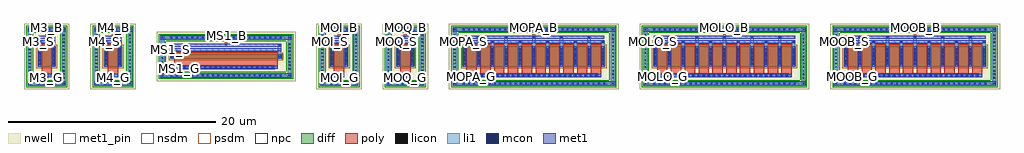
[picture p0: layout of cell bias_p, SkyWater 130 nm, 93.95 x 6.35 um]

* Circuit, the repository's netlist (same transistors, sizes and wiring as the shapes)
.subckt bias_p M3_D M3_G M3_S M3_B M4_D M4_G M4_S M4_B MS1_D MS1_G MS1_S MS1_B MOI_D MOI_G MOI_S MOI_B MOQ_D MOQ_G MOQ_S MOQ_B MOPA_D MOPA_G MOPA_S MOPA_B MOLO_D MOLO_G MOLO_S MOLO_B MOOB_D MOOB_G MOOB_S MOOB_B
XM3 M3_D M3_G M3_S M3_B sky130_fd_pr__pfet_01v8 W=2.0 L=1.0 nf=1 m=1
XM4 M4_D M4_G M4_S M4_B sky130_fd_pr__pfet_01v8 W=2.0 L=1.0 nf=1 m=1
XMS1 MS1_D MS1_G MS1_S MS1_B sky130_fd_pr__pfet_01v8 W=0.42 L=10.0 nf=1 m=1
XMOI MOI_D MOI_G MOI_S MOI_B sky130_fd_pr__pfet_01v8 W=2.0 L=1.0 nf=1 m=1
XMOQ MOQ_D MOQ_G MOQ_S MOQ_B sky130_fd_pr__pfet_01v8 W=2.0 L=1.0 nf=1 m=1
XMOPA MOPA_D MOPA_G MOPA_S MOPA_B sky130_fd_pr__pfet_01v8 W=20.0 L=1.0 nf=10 m=1
XMOLO MOLO_D MOLO_G MOLO_S MOLO_B sky130_fd_pr__pfet_01v8 W=20.0 L=1.0 nf=10 m=1
XMOOB MOOB_D MOOB_G MOOB_S MOOB_B sky130_fd_pr__pfet_01v8 W=20.0 L=1.0 nf=10 m=1
.ends bias_p

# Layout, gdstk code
import gdstk
lib = gdstk.Library(unit=1e-6, precision=5e-09)
def R(c, l, rs):  # rectangles x0, y0, x1, y1
    for r in rs: c.add(gdstk.rectangle(r[:2], r[2:], *l))
def A(c, l, x, y, w, h, nx, ny, dx, dy):  # array of equal rectangles
    R(c, l, [(x+i*dx, y+j*dy, x+i*dx+w, y+j*dy+h) for i in range(nx) for j in range(ny)])
def P(c, l, *ps):  # polygons
    for p in ps: c.add(gdstk.Polygon(p, *l))
nwell = (64, 20)
diff = (65, 20)
poly = (66, 20)
licon = (66, 44)
li1 = (67, 20)
mcon = (67, 44)
met1_pin = (68, 16)
met1 = (68, 20)
nsdm = (93, 44)
psdm = (94, 20)
npc = (95, 20)

bias_p = lib.new_cell('bias_p')
A(bias_p, nwell, 40.905, -3.175, 16.35, 6.35, 3, 1, 18.35, 0)
A(bias_p, nwell, 41.085, -2.995, 15.99, 5.99, 3, 1, 18.35, 0)
R(bias_p, nwell, [(0,-3.175,4.38,3.175), (6.38,-3.175,10.76,3.175), (28.15,-3.175,32.53,3.175), (34.52,-3.175,38.9,3.175), (0.18,-2.995,4.2,2.995), (6.56,-2.995,10.58,2.995), (28.33,-2.995,32.35,2.995), (34.7,-2.995,38.72,2.995), (12.76,-2.39,26.14,2.39), (12.94,-2.21,25.96,2.21)])
A(bias_p, diff, 1.235, -2.815, 0.41, 0.41, 4, 2, 0.5, 5.22)
A(bias_p, diff, 7.615, -2.815, 0.41, 0.41, 4, 2, 0.5, 5.22)
A(bias_p, diff, 29.385, -2.815, 0.41, 0.41, 4, 2, 0.5, 5.22)
A(bias_p, diff, 35.755, -2.815, 0.41, 0.41, 4, 2, 0.5, 5.22)
A(bias_p, diff, 42.125, -2.815, 0.41, 0.41, 28, 2, 0.5, 5.22)
A(bias_p, diff, 42.125, -2.815, 13.91, 0.41, 3, 2, 18.35, 5.22)
A(bias_p, diff, 60.475, -2.815, 0.41, 0.41, 28, 2, 0.5, 5.22)
A(bias_p, diff, 78.825, -2.815, 0.41, 0.41, 28, 2, 0.5, 5.22)
A(bias_p, diff, 0.36, -2.245, 0.41, 0.41, 1, 13, 0, 0.34)
A(bias_p, diff, 3.61, -2.245, 0.41, 0.41, 1, 13, 0, 0.34)
A(bias_p, diff, 6.74, -2.245, 0.41, 0.41, 1, 13, 0, 0.34)
A(bias_p, diff, 9.99, -2.245, 0.41, 0.41, 1, 13, 0, 0.34)
A(bias_p, diff, 28.51, -2.245, 0.41, 0.41, 1, 13, 0, 0.34)
A(bias_p, diff, 31.76, -2.245, 0.41, 0.41, 1, 13, 0, 0.34)
A(bias_p, diff, 34.88, -2.245, 0.41, 0.41, 1, 13, 0, 0.34)
A(bias_p, diff, 38.13, -2.245, 0.41, 0.41, 1, 13, 0, 0.34)
A(bias_p, diff, 41.265, -2.245, 0.41, 0.41, 1, 13, 0, 0.34)
A(bias_p, diff, 56.485, -2.245, 0.41, 0.41, 1, 13, 0, 0.34)
A(bias_p, diff, 59.615, -2.245, 0.41, 0.41, 1, 13, 0, 0.34)
A(bias_p, diff, 74.835, -2.245, 0.41, 0.41, 1, 13, 0, 0.34)
A(bias_p, diff, 77.965, -2.245, 0.41, 0.41, 1, 13, 0, 0.34)
A(bias_p, diff, 93.185, -2.245, 0.41, 0.41, 1, 13, 0, 0.34)
A(bias_p, diff, 13.995, -2.03, 0.41, 0.41, 22, 2, 0.5, 3.65)
A(bias_p, diff, 13.12, -1.395, 0.41, 0.41, 1, 8, 0, 0.34)
A(bias_p, diff, 25.37, -1.395, 0.41, 0.41, 1, 8, 0, 0.34)
A(bias_p, diff, 42.205, -1, 13.75, 2, 3, 1, 18.35, 0)
R(bias_p, diff, [(1.235,-2.815,3.145,-2.405), (7.615,-2.815,9.525,-2.405), (29.385,-2.815,31.295,-2.405), (35.755,-2.815,37.665,-2.405), (0.36,-2.245,0.77,2.245), (3.61,-2.245,4.02,2.245), (6.74,-2.245,7.15,2.245), (9.99,-2.245,10.4,2.245), (28.51,-2.245,28.92,2.245), (31.76,-2.245,32.17,2.245), (34.88,-2.245,35.29,2.245), (38.13,-2.245,38.54,2.245), (41.265,-2.245,41.675,2.245), (56.485,-2.245,56.895,2.245), (59.615,-2.245,60.025,2.245), (74.835,-2.245,75.245,2.245), (77.965,-2.245,78.375,2.245), (93.185,-2.245,93.595,2.245), (13.995,-2.03,24.905,-1.62), (13.12,-1.395,13.53,1.395), (25.37,-1.395,25.78,1.395), (1.3,-1,3.08,1), (7.68,-1,9.46,1), (29.45,-1,31.23,1), (35.82,-1,37.6,1), (14.06,-0.21,24.84,0.21), (13.995,1.62,24.905,2.03), (1.235,2.405,3.145,2.815), (7.615,2.405,9.525,2.815), (29.385,2.405,31.295,2.815), (35.755,2.405,37.665,2.815)])
P(bias_p, diff, [(4.02,2.815),(0.36,2.815),(0.36,-2.405),(0.77,-2.405),(0.77,2.405),(3.61,2.405),(3.61,-2.405),(0.77,-2.405),(0.36,-2.405),(0.36,-2.815),(4.02,-2.815)],
  [(93.595,2.815),(77.965,2.815),(77.965,-2.405),(78.375,-2.405),(78.375,2.405),(93.185,2.405),(93.185,-2.405),(78.375,-2.405),(77.965,-2.405),(77.965,-2.815),(93.595,-2.815)],
  [(75.245,2.815),(59.615,2.815),(59.615,-2.405),(60.025,-2.405),(60.025,2.405),(74.835,2.405),(74.835,-2.405),(60.025,-2.405),(59.615,-2.405),(59.615,-2.815),(75.245,-2.815)],
  [(56.895,2.815),(41.265,2.815),(41.265,-2.405),(41.675,-2.405),(41.675,2.405),(56.485,2.405),(56.485,-2.405),(41.675,-2.405),(41.265,-2.405),(41.265,-2.815),(56.895,-2.815)],
  [(38.54,2.815),(34.88,2.815),(34.88,-2.405),(35.29,-2.405),(35.29,2.405),(38.13,2.405),(38.13,-2.405),(35.29,-2.405),(34.88,-2.405),(34.88,-2.815),(38.54,-2.815)],
  [(32.17,2.815),(28.51,2.815),(28.51,-2.405),(28.92,-2.405),(28.92,2.405),(31.76,2.405),(31.76,-2.405),(28.92,-2.405),(28.51,-2.405),(28.51,-2.815),(32.17,-2.815)],
  [(25.78,2.03),(13.12,2.03),(13.12,-1.62),(13.53,-1.62),(13.53,1.62),(25.37,1.62),(25.37,-1.62),(13.53,-1.62),(13.12,-1.62),(13.12,-2.03),(25.78,-2.03)],
  [(10.4,2.815),(6.74,2.815),(6.74,-2.405),(7.15,-2.405),(7.15,2.405),(9.99,2.405),(9.99,-2.405),(7.15,-2.405),(6.74,-2.405),(6.74,-2.815),(10.4,-2.815)])
A(bias_p, poly, 30.175, -1.98, 0.33, 0.33, 3, 1, 6.37, 0)
A(bias_p, poly, 42.595, -1.98, 12.97, 0.33, 3, 1, 18.35, 0)
A(bias_p, poly, 43.415, -1.98, 0.33, 0.33, 24, 1, 0.5, 0)
A(bias_p, poly, 61.265, -1.98, 0.33, 0.33, 25, 1, 0.5, 0)
A(bias_p, poly, 79.615, -1.98, 0.33, 0.33, 25, 1, 0.5, 0)
A(bias_p, poly, 42.595, -1.65, 1, 0.4, 10, 1, 1.33, 0)
A(bias_p, poly, 60.945, -1.65, 1, 0.4, 10, 1, 1.33, 0)
A(bias_p, poly, 79.295, -1.65, 1, 0.4, 10, 1, 1.33, 0)
A(bias_p, poly, 42.595, -1.25, 1, 2.5, 10, 1, 1.33, 0)
A(bias_p, poly, 60.945, -1.25, 1, 2.5, 10, 1, 1.33, 0)
A(bias_p, poly, 79.295, -1.25, 1, 2.5, 10, 1, 1.33, 0)
A(bias_p, poly, 14.785, -1.2, 0.33, 0.33, 19, 1, 0.5, 0)
R(bias_p, poly, [(1.69,-1.98,2.69,-1.65), (2.025,-1.98,2.355,-1.65), (8.07,-1.98,9.07,-1.65), (8.405,-1.98,8.735,-1.65), (29.84,-1.98,30.84,-1.65), (36.21,-1.98,37.21,-1.65), (1.69,-1.65,2.69,-1.25), (8.07,-1.65,9.07,-1.25), (29.84,-1.65,30.84,-1.25), (36.21,-1.65,37.21,-1.25), (1.69,-1.25,2.69,1.25), (8.07,-1.25,9.07,1.25), (29.84,-1.25,30.84,1.25), (36.21,-1.25,37.21,1.25), (14.45,-1.2,24.45,-0.87), (14.45,-0.87,24.45,-0.46), (14.45,-0.46,24.45,0.46)])
A(bias_p, licon, 1.355, -2.695, 0.17, 0.17, 4, 2, 0.5, 5.22)
A(bias_p, licon, 7.735, -2.695, 0.17, 0.17, 4, 2, 0.5, 5.22)
A(bias_p, licon, 29.505, -2.695, 0.17, 0.17, 4, 2, 0.5, 5.22)
A(bias_p, licon, 35.875, -2.695, 0.17, 0.17, 4, 2, 0.5, 5.22)
A(bias_p, licon, 42.245, -2.695, 0.17, 0.17, 28, 2, 0.5, 5.22)
A(bias_p, licon, 60.595, -2.695, 0.17, 0.17, 28, 2, 0.5, 5.22)
A(bias_p, licon, 78.945, -2.695, 0.17, 0.17, 28, 2, 0.5, 5.22)
A(bias_p, licon, 0.48, -2.125, 0.17, 0.17, 1, 13, 0, 0.34)
A(bias_p, licon, 3.73, -2.125, 0.17, 0.17, 1, 13, 0, 0.34)
A(bias_p, licon, 6.86, -2.125, 0.17, 0.17, 1, 13, 0, 0.34)
A(bias_p, licon, 10.11, -2.125, 0.17, 0.17, 1, 13, 0, 0.34)
A(bias_p, licon, 28.63, -2.125, 0.17, 0.17, 1, 13, 0, 0.34)
A(bias_p, licon, 31.88, -2.125, 0.17, 0.17, 1, 13, 0, 0.34)
A(bias_p, licon, 35, -2.125, 0.17, 0.17, 1, 13, 0, 0.34)
A(bias_p, licon, 38.25, -2.125, 0.17, 0.17, 1, 13, 0, 0.34)
A(bias_p, licon, 41.385, -2.125, 0.17, 0.17, 1, 13, 0, 0.34)
A(bias_p, licon, 56.605, -2.125, 0.17, 0.17, 1, 13, 0, 0.34)
A(bias_p, licon, 59.735, -2.125, 0.17, 0.17, 1, 13, 0, 0.34)
A(bias_p, licon, 74.955, -2.125, 0.17, 0.17, 1, 13, 0, 0.34)
A(bias_p, licon, 78.085, -2.125, 0.17, 0.17, 1, 13, 0, 0.34)
A(bias_p, licon, 93.305, -2.125, 0.17, 0.17, 1, 13, 0, 0.34)
A(bias_p, licon, 14.115, -1.91, 0.17, 0.17, 22, 2, 0.5, 3.65)
A(bias_p, licon, 30.255, -1.9, 0.17, 0.17, 3, 1, 6.37, 0)
A(bias_p, licon, 43.495, -1.9, 0.17, 0.17, 24, 1, 0.5, 0)
A(bias_p, licon, 61.345, -1.9, 0.17, 0.17, 25, 1, 0.5, 0)
A(bias_p, licon, 79.695, -1.9, 0.17, 0.17, 25, 1, 0.5, 0)
A(bias_p, licon, 13.24, -1.275, 0.17, 0.17, 1, 8, 0, 0.34)
A(bias_p, licon, 25.49, -1.275, 0.17, 0.17, 1, 8, 0, 0.34)
A(bias_p, licon, 14.865, -1.12, 0.17, 0.17, 19, 1, 0.5, 0)
A(bias_p, licon, 1.44, -0.595, 0.17, 0.17, 1, 4, 0, 0.34)
A(bias_p, licon, 2.77, -0.595, 0.17, 0.17, 1, 4, 0, 0.34)
A(bias_p, licon, 7.82, -0.595, 0.17, 0.17, 1, 4, 0, 0.34)
A(bias_p, licon, 9.15, -0.595, 0.17, 0.17, 1, 4, 0, 0.34)
A(bias_p, licon, 29.59, -0.595, 0.17, 0.17, 1, 4, 0, 0.34)
A(bias_p, licon, 30.92, -0.595, 0.17, 0.17, 1, 4, 0, 0.34)
A(bias_p, licon, 35.96, -0.595, 0.17, 0.17, 1, 4, 0, 0.34)
A(bias_p, licon, 37.29, -0.595, 0.17, 0.17, 1, 4, 0, 0.34)
A(bias_p, licon, 42.345, -0.595, 0.17, 0.17, 11, 4, 1.33, 0.34)
A(bias_p, licon, 60.695, -0.595, 0.17, 0.17, 11, 4, 1.33, 0.34)
A(bias_p, licon, 79.045, -0.595, 0.17, 0.17, 11, 4, 1.33, 0.34)
R(bias_p, licon, [(2.105,-1.9,2.275,-1.73), (8.485,-1.9,8.655,-1.73), (14.2,-0.085,14.37,0.085), (24.53,-0.085,24.7,0.085)])
A(bias_p, li1, 1.275, -2.775, 0.33, 0.33, 4, 2, 0.5, 5.22)
A(bias_p, li1, 7.655, -2.775, 0.33, 0.33, 4, 2, 0.5, 5.22)
A(bias_p, li1, 29.425, -2.775, 0.33, 0.33, 4, 2, 0.5, 5.22)
A(bias_p, li1, 35.795, -2.775, 0.33, 0.33, 4, 2, 0.5, 5.22)
A(bias_p, li1, 42.165, -2.775, 0.33, 0.33, 28, 2, 0.5, 5.22)
A(bias_p, li1, 42.165, -2.775, 13.83, 0.33, 3, 2, 18.35, 5.22)
A(bias_p, li1, 60.515, -2.775, 0.33, 0.33, 28, 2, 0.5, 5.22)
A(bias_p, li1, 78.865, -2.775, 0.33, 0.33, 28, 2, 0.5, 5.22)
A(bias_p, li1, 0.4, -2.205, 0.33, 0.33, 1, 13, 0, 0.34)
A(bias_p, li1, 3.65, -2.205, 0.33, 0.33, 1, 13, 0, 0.34)
A(bias_p, li1, 6.78, -2.205, 0.33, 0.33, 1, 13, 0, 0.34)
A(bias_p, li1, 10.03, -2.205, 0.33, 0.33, 1, 13, 0, 0.34)
A(bias_p, li1, 28.55, -2.205, 0.33, 0.33, 1, 13, 0, 0.34)
A(bias_p, li1, 31.8, -2.205, 0.33, 0.33, 1, 13, 0, 0.34)
A(bias_p, li1, 34.92, -2.205, 0.33, 0.33, 1, 13, 0, 0.34)
A(bias_p, li1, 38.17, -2.205, 0.33, 0.33, 1, 13, 0, 0.34)
A(bias_p, li1, 41.305, -2.205, 0.33, 0.33, 1, 13, 0, 0.34)
A(bias_p, li1, 56.525, -2.205, 0.33, 0.33, 1, 13, 0, 0.34)
A(bias_p, li1, 59.655, -2.205, 0.33, 0.33, 1, 13, 0, 0.34)
A(bias_p, li1, 74.875, -2.205, 0.33, 0.33, 1, 13, 0, 0.34)
A(bias_p, li1, 78.005, -2.205, 0.33, 0.33, 1, 13, 0, 0.34)
A(bias_p, li1, 93.225, -2.205, 0.33, 0.33, 1, 13, 0, 0.34)
A(bias_p, li1, 14.035, -1.99, 0.33, 0.33, 22, 2, 0.5, 3.65)
A(bias_p, li1, 30.175, -1.98, 0.33, 0.33, 3, 1, 6.37, 0)
A(bias_p, li1, 43.415, -1.98, 0.33, 0.33, 24, 1, 0.5, 0)
A(bias_p, li1, 61.265, -1.98, 0.33, 0.33, 25, 1, 0.5, 0)
A(bias_p, li1, 79.615, -1.98, 0.33, 0.33, 25, 1, 0.5, 0)
A(bias_p, li1, 13.16, -1.355, 0.33, 0.33, 1, 8, 0, 0.34)
A(bias_p, li1, 25.41, -1.355, 0.33, 0.33, 1, 8, 0, 0.34)
A(bias_p, li1, 14.785, -1.2, 0.33, 0.33, 19, 1, 0.5, 0)
A(bias_p, li1, 42.265, -1, 0.33, 2, 11, 1, 1.33, 0)
A(bias_p, li1, 60.615, -1, 0.33, 2, 11, 1, 1.33, 0)
A(bias_p, li1, 78.965, -1, 0.33, 2, 11, 1, 1.33, 0)
A(bias_p, li1, 1.44, -0.805, 0.17, 0.17, 1, 5, 0, 0.36)
A(bias_p, li1, 2.77, -0.805, 0.17, 0.17, 1, 5, 0, 0.36)
A(bias_p, li1, 7.82, -0.805, 0.17, 0.17, 1, 5, 0, 0.36)
A(bias_p, li1, 9.15, -0.805, 0.17, 0.17, 1, 5, 0, 0.36)
A(bias_p, li1, 29.59, -0.805, 0.17, 0.17, 1, 5, 0, 0.36)
A(bias_p, li1, 30.92, -0.805, 0.17, 0.17, 1, 5, 0, 0.36)
A(bias_p, li1, 35.96, -0.805, 0.17, 0.17, 1, 5, 0, 0.36)
A(bias_p, li1, 37.29, -0.805, 0.17, 0.17, 1, 5, 0, 0.36)
A(bias_p, li1, 42.345, -0.805, 0.17, 0.17, 11, 5, 1.33, 0.36)
A(bias_p, li1, 42.345, -0.805, 0.17, 1.61, 11, 1, 1.33, 0)
A(bias_p, li1, 60.695, -0.805, 0.17, 0.17, 11, 5, 1.33, 0.36)
A(bias_p, li1, 60.695, -0.805, 0.17, 1.61, 11, 1, 1.33, 0)
A(bias_p, li1, 79.045, -0.805, 0.17, 0.17, 11, 5, 1.33, 0.36)
A(bias_p, li1, 79.045, -0.805, 0.17, 1.61, 11, 1, 1.33, 0)
A(bias_p, li1, 1.36, -0.675, 0.33, 0.33, 1, 4, 0, 0.34)
A(bias_p, li1, 2.69, -0.675, 0.33, 0.33, 1, 4, 0, 0.34)
A(bias_p, li1, 7.74, -0.675, 0.33, 0.33, 1, 4, 0, 0.34)
A(bias_p, li1, 9.07, -0.675, 0.33, 0.33, 1, 4, 0, 0.34)
A(bias_p, li1, 29.51, -0.675, 0.33, 0.33, 1, 4, 0, 0.34)
A(bias_p, li1, 30.84, -0.675, 0.33, 0.33, 1, 4, 0, 0.34)
A(bias_p, li1, 35.88, -0.675, 0.33, 0.33, 1, 4, 0, 0.34)
A(bias_p, li1, 37.21, -0.675, 0.33, 0.33, 1, 4, 0, 0.34)
A(bias_p, li1, 42.265, -0.675, 0.33, 0.33, 11, 4, 1.33, 0.34)
A(bias_p, li1, 60.615, -0.675, 0.33, 0.33, 11, 4, 1.33, 0.34)
A(bias_p, li1, 78.965, -0.675, 0.33, 0.33, 11, 4, 1.33, 0.34)
A(bias_p, li1, 42.265, 1, 0.33, 0.515, 6, 1, 2.66, 0)
A(bias_p, li1, 43.595, 1, 0.33, 0.945, 5, 1, 2.66, 0)
A(bias_p, li1, 60.615, 1, 0.33, 0.515, 6, 1, 2.66, 0)
A(bias_p, li1, 61.945, 1, 0.33, 0.945, 5, 1, 2.66, 0)
A(bias_p, li1, 78.965, 1, 0.33, 0.515, 6, 1, 2.66, 0)
A(bias_p, li1, 80.295, 1, 0.33, 0.945, 5, 1, 2.66, 0)
A(bias_p, li1, 42.345, 1.345, 0.17, 0.17, 6, 1, 2.66, 0)
A(bias_p, li1, 60.695, 1.345, 0.17, 0.17, 6, 1, 2.66, 0)
A(bias_p, li1, 79.045, 1.345, 0.17, 0.17, 6, 1, 2.66, 0)
A(bias_p, li1, 43.675, 1.775, 0.17, 0.17, 5, 1, 2.66, 0)
A(bias_p, li1, 62.025, 1.775, 0.17, 0.17, 5, 1, 2.66, 0)
A(bias_p, li1, 80.375, 1.775, 0.17, 0.17, 5, 1, 2.66, 0)
R(bias_p, li1, [(0.36,-2.815,0.77,-2.405), (3.61,-2.815,4.02,-2.405), (6.74,-2.815,7.15,-2.405), (9.99,-2.815,10.4,-2.405), (28.51,-2.815,28.92,-2.405), (31.76,-2.815,32.17,-2.405), (34.88,-2.815,35.29,-2.405), (38.13,-2.815,38.54,-2.405), (41.265,-2.815,41.675,-2.405), (56.485,-2.815,56.895,-2.405), (59.615,-2.815,60.025,-2.405), (74.835,-2.815,75.245,-2.405), (77.965,-2.815,78.375,-2.405), (93.185,-2.815,93.595,-2.405), (1.275,-2.775,3.105,-2.445), (7.655,-2.775,9.485,-2.445), (29.425,-2.775,31.255,-2.445), (35.795,-2.775,37.625,-2.445), (0.48,-2.695,0.65,-2.525), (0.48,-2.695,0.65,-2.525), (3.73,-2.695,3.9,-2.525), (3.73,-2.695,3.9,-2.525), (6.86,-2.695,7.03,-2.525), (6.86,-2.695,7.03,-2.525), (10.11,-2.695,10.28,-2.525), (10.11,-2.695,10.28,-2.525), (28.63,-2.695,28.8,-2.525), (28.63,-2.695,28.8,-2.525), (31.88,-2.695,32.05,-2.525), (31.88,-2.695,32.05,-2.525), (35,-2.695,35.17,-2.525), (35,-2.695,35.17,-2.525), (38.25,-2.695,38.42,-2.525), (38.25,-2.695,38.42,-2.525), (41.385,-2.695,41.555,-2.525), (41.385,-2.695,41.555,-2.525), (56.605,-2.695,56.775,-2.525), (56.605,-2.695,56.775,-2.525), (59.735,-2.695,59.905,-2.525), (59.735,-2.695,59.905,-2.525), (74.955,-2.695,75.125,-2.525), (74.955,-2.695,75.125,-2.525), (78.085,-2.695,78.255,-2.525), (78.085,-2.695,78.255,-2.525), (93.305,-2.695,93.475,-2.525), (93.305,-2.695,93.475,-2.525), (0.36,-2.405,0.77,2.405), (3.61,-2.405,4.02,2.405), (6.74,-2.405,7.15,2.405), (9.99,-2.405,10.4,2.405), (28.51,-2.405,28.92,2.405), (31.76,-2.405,32.17,2.405), (34.88,-2.405,35.29,2.405), (38.13,-2.405,38.54,2.405), (41.265,-2.405,41.675,2.405), (56.485,-2.405,56.895,2.405), (59.615,-2.405,60.025,2.405), (74.835,-2.405,75.245,2.405), (77.965,-2.405,78.375,2.405), (93.185,-2.405,93.595,2.405), (13.12,-2.03,13.53,-1.62), (25.37,-2.03,25.78,-1.62), (14.035,-1.99,24.865,-1.66), (2.025,-1.98,2.355,-1.65), (8.405,-1.98,8.735,-1.65), (13.24,-1.91,13.41,-1.74), (13.24,-1.91,13.41,-1.74), (25.49,-1.91,25.66,-1.74), (25.49,-1.91,25.66,-1.74), (13.12,-1.62,13.53,1.62), (25.37,-1.62,25.78,1.62), (1.36,-1,1.69,1), (2.69,-1,3.02,1), (7.74,-1,8.07,1), (9.07,-1,9.4,1), (29.51,-1,29.84,1), (30.84,-1,31.17,1), (35.88,-1,36.21,1), (37.21,-1,37.54,1), (1.44,-0.805,1.61,0.805), (2.77,-0.805,2.94,0.805), (7.82,-0.805,7.99,0.805), (9.15,-0.805,9.32,0.805), (29.59,-0.805,29.76,0.805), (30.92,-0.805,31.09,0.805), (35.96,-0.805,36.13,0.805), (37.29,-0.805,37.46,0.805), (14.12,-0.21,14.45,0.21), (24.45,-0.21,24.78,0.21), (14.12,-0.165,14.45,0.165), (24.45,-0.165,24.78,0.165), (14.2,-0.085,14.37,0.085), (14.2,-0.085,14.37,0.085), (24.53,-0.085,24.7,0.085), (24.53,-0.085,24.7,0.085), (14.12,0.21,14.45,0.725), (24.45,0.21,24.78,1.155), (14.2,0.555,14.37,0.725), (24.53,0.985,24.7,1.155), (1.36,1,1.69,1.515), (2.69,1,3.02,1.945), (7.74,1,8.07,1.515), (9.07,1,9.4,1.945), (29.51,1,29.84,1.515), (30.84,1,31.17,1.945), (35.88,1,36.21,1.515), (37.21,1,37.54,1.945), (1.44,1.345,1.61,1.515), (7.82,1.345,7.99,1.515), (29.59,1.345,29.76,1.515), (35.96,1.345,36.13,1.515), (13.12,1.62,13.53,2.03), (25.37,1.62,25.78,2.03), (14.035,1.66,24.865,1.99), (13.24,1.74,13.41,1.91), (13.24,1.74,13.41,1.91), (25.49,1.74,25.66,1.91), (25.49,1.74,25.66,1.91), (2.77,1.775,2.94,1.945), (9.15,1.775,9.32,1.945), (30.92,1.775,31.09,1.945), (37.29,1.775,37.46,1.945), (0.36,2.405,0.77,2.815), (3.61,2.405,4.02,2.815), (6.74,2.405,7.15,2.815), (9.99,2.405,10.4,2.815), (28.51,2.405,28.92,2.815), (31.76,2.405,32.17,2.815), (34.88,2.405,35.29,2.815), (38.13,2.405,38.54,2.815), (41.265,2.405,41.675,2.815), (56.485,2.405,56.895,2.815), (59.615,2.405,60.025,2.815), (74.835,2.405,75.245,2.815), (77.965,2.405,78.375,2.815), (93.185,2.405,93.595,2.815), (1.275,2.445,3.105,2.775), (7.655,2.445,9.485,2.775), (29.425,2.445,31.255,2.775), (35.795,2.445,37.625,2.775), (0.48,2.525,0.65,2.695), (0.48,2.525,0.65,2.695), (3.73,2.525,3.9,2.695), (3.73,2.525,3.9,2.695), (6.86,2.525,7.03,2.695), (6.86,2.525,7.03,2.695), (10.11,2.525,10.28,2.695), (10.11,2.525,10.28,2.695), (28.63,2.525,28.8,2.695), (28.63,2.525,28.8,2.695), (31.88,2.525,32.05,2.695), (31.88,2.525,32.05,2.695), (35,2.525,35.17,2.695), (35,2.525,35.17,2.695), (38.25,2.525,38.42,2.695), (38.25,2.525,38.42,2.695), (41.385,2.525,41.555,2.695), (41.385,2.525,41.555,2.695), (56.605,2.525,56.775,2.695), (56.605,2.525,56.775,2.695), (59.735,2.525,59.905,2.695), (59.735,2.525,59.905,2.695), (74.955,2.525,75.125,2.695), (74.955,2.525,75.125,2.695), (78.085,2.525,78.255,2.695), (78.085,2.525,78.255,2.695), (93.305,2.525,93.475,2.695), (93.305,2.525,93.475,2.695)])
A(bias_p, mcon, 1.355, -2.695, 0.17, 0.17, 4, 2, 0.5, 5.22)
A(bias_p, mcon, 7.735, -2.695, 0.17, 0.17, 4, 2, 0.5, 5.22)
A(bias_p, mcon, 29.505, -2.695, 0.17, 0.17, 4, 2, 0.5, 5.22)
A(bias_p, mcon, 35.875, -2.695, 0.17, 0.17, 4, 2, 0.5, 5.22)
A(bias_p, mcon, 42.245, -2.695, 0.17, 0.17, 28, 2, 0.5, 5.22)
A(bias_p, mcon, 60.595, -2.695, 0.17, 0.17, 28, 2, 0.5, 5.22)
A(bias_p, mcon, 78.945, -2.695, 0.17, 0.17, 28, 2, 0.5, 5.22)
A(bias_p, mcon, 14.115, -1.91, 0.17, 0.17, 22, 2, 0.5, 3.65)
A(bias_p, mcon, 30.255, -1.9, 0.17, 0.17, 3, 1, 6.37, 0)
A(bias_p, mcon, 43.495, -1.9, 0.17, 0.17, 24, 1, 0.5, 0)
A(bias_p, mcon, 61.345, -1.9, 0.17, 0.17, 25, 1, 0.5, 0)
A(bias_p, mcon, 79.695, -1.9, 0.17, 0.17, 25, 1, 0.5, 0)
A(bias_p, mcon, 14.865, -1.12, 0.17, 0.17, 19, 1, 0.5, 0)
A(bias_p, mcon, 1.44, -0.805, 0.17, 0.17, 1, 5, 0, 0.36)
A(bias_p, mcon, 2.77, -0.805, 0.17, 0.17, 1, 5, 0, 0.36)
A(bias_p, mcon, 7.82, -0.805, 0.17, 0.17, 1, 5, 0, 0.36)
A(bias_p, mcon, 9.15, -0.805, 0.17, 0.17, 1, 5, 0, 0.36)
A(bias_p, mcon, 29.59, -0.805, 0.17, 0.17, 1, 5, 0, 0.36)
A(bias_p, mcon, 30.92, -0.805, 0.17, 0.17, 1, 5, 0, 0.36)
A(bias_p, mcon, 35.96, -0.805, 0.17, 0.17, 1, 5, 0, 0.36)
A(bias_p, mcon, 37.29, -0.805, 0.17, 0.17, 1, 5, 0, 0.36)
A(bias_p, mcon, 42.345, -0.805, 0.17, 0.17, 11, 5, 1.33, 0.36)
A(bias_p, mcon, 60.695, -0.805, 0.17, 0.17, 11, 5, 1.33, 0.36)
A(bias_p, mcon, 79.045, -0.805, 0.17, 0.17, 11, 5, 1.33, 0.36)
A(bias_p, mcon, 42.345, 1.345, 0.17, 0.17, 6, 1, 2.66, 0)
A(bias_p, mcon, 60.695, 1.345, 0.17, 0.17, 6, 1, 2.66, 0)
A(bias_p, mcon, 79.045, 1.345, 0.17, 0.17, 6, 1, 2.66, 0)
A(bias_p, mcon, 43.675, 1.775, 0.17, 0.17, 5, 1, 2.66, 0)
A(bias_p, mcon, 62.025, 1.775, 0.17, 0.17, 5, 1, 2.66, 0)
A(bias_p, mcon, 80.375, 1.775, 0.17, 0.17, 5, 1, 2.66, 0)
R(bias_p, mcon, [(0.48,-2.695,0.65,-2.525), (3.73,-2.695,3.9,-2.525), (6.86,-2.695,7.03,-2.525), (10.11,-2.695,10.28,-2.525), (28.63,-2.695,28.8,-2.525), (31.88,-2.695,32.05,-2.525), (35,-2.695,35.17,-2.525), (38.25,-2.695,38.42,-2.525), (41.385,-2.695,41.555,-2.525), (56.605,-2.695,56.775,-2.525), (59.735,-2.695,59.905,-2.525), (74.955,-2.695,75.125,-2.525), (78.085,-2.695,78.255,-2.525), (93.305,-2.695,93.475,-2.525), (13.24,-1.91,13.41,-1.74), (25.49,-1.91,25.66,-1.74), (2.105,-1.9,2.275,-1.73), (8.485,-1.9,8.655,-1.73), (14.2,-0.085,14.37,0.085), (24.53,-0.085,24.7,0.085), (14.2,0.555,14.37,0.725), (24.53,0.985,24.7,1.155), (1.44,1.345,1.61,1.515), (7.82,1.345,7.99,1.515), (29.59,1.345,29.76,1.515), (35.96,1.345,36.13,1.515), (13.24,1.74,13.41,1.91), (25.49,1.74,25.66,1.91), (2.77,1.775,2.94,1.945), (9.15,1.775,9.32,1.945), (30.92,1.775,31.09,1.945), (37.29,1.775,37.46,1.945), (0.48,2.525,0.65,2.695), (3.73,2.525,3.9,2.695), (6.86,2.525,7.03,2.695), (10.11,2.525,10.28,2.695), (28.63,2.525,28.8,2.695), (31.88,2.525,32.05,2.695), (35,2.525,35.17,2.695), (38.25,2.525,38.42,2.695), (41.385,2.525,41.555,2.695), (56.605,2.525,56.775,2.695), (59.735,2.525,59.905,2.695), (74.955,2.525,75.125,2.695), (78.085,2.525,78.255,2.695), (93.305,2.525,93.475,2.695)])
A(bias_p, met1_pin, 42.945, -2.095, 0.27, 0.27, 3, 1, 18.35, 0)
A(bias_p, met1_pin, 42.15, 1.295, 0.27, 0.27, 3, 1, 18.35, 0)
A(bias_p, met1_pin, 48.945, 1.87, 0.27, 0.27, 3, 2, 18.35, 0.81)
R(bias_p, met1_pin, [(2.055,-2.115,2.325,-1.845), (8.435,-2.115,8.705,-1.845), (30.205,-2.115,30.475,-1.845), (36.575,-2.115,36.845,-1.845), (14.815,-1.315,15.085,-1.045), (14.005,0.505,14.275,0.775), (19.315,1.08,19.585,1.35), (1.245,1.295,1.515,1.565), (7.625,1.295,7.895,1.565), (29.395,1.295,29.665,1.565), (35.765,1.295,36.035,1.565), (2.055,1.87,2.325,2.14), (8.435,1.87,8.705,2.14), (30.205,1.87,30.475,2.14), (36.575,1.87,36.845,2.14), (19.315,1.895,19.585,2.165), (2.055,2.68,2.325,2.95), (8.435,2.68,8.705,2.95), (30.205,2.68,30.475,2.95), (36.575,2.68,36.845,2.95)])
A(bias_p, met1, 41.675, -2.815, 14.81, 0.41, 3, 2, 18.35, 5.22)
A(bias_p, met1, 1.295, -2.755, 0.29, 0.29, 4, 2, 0.5, 5.22)
A(bias_p, met1, 7.675, -2.755, 0.29, 0.29, 4, 2, 0.5, 5.22)
A(bias_p, met1, 29.445, -2.755, 0.29, 0.29, 4, 2, 0.5, 5.22)
A(bias_p, met1, 35.815, -2.755, 0.29, 0.29, 4, 2, 0.5, 5.22)
A(bias_p, met1, 42.185, -2.755, 0.29, 0.29, 28, 2, 0.5, 5.22)
A(bias_p, met1, 60.535, -2.755, 0.29, 0.29, 28, 2, 0.5, 5.22)
A(bias_p, met1, 78.885, -2.755, 0.29, 0.29, 28, 2, 0.5, 5.22)
A(bias_p, met1, 42.595, -1.98, 12.97, 0.33, 3, 1, 18.35, 0)
A(bias_p, met1, 14.055, -1.97, 0.29, 0.29, 22, 2, 0.5, 3.65)
A(bias_p, met1, 30.195, -1.96, 0.29, 0.29, 3, 1, 6.37, 0)
A(bias_p, met1, 43.435, -1.96, 0.29, 0.29, 24, 1, 0.5, 0)
A(bias_p, met1, 61.285, -1.96, 0.29, 0.29, 25, 1, 0.5, 0)
A(bias_p, met1, 79.635, -1.96, 0.29, 0.29, 25, 1, 0.5, 0)
A(bias_p, met1, 14.805, -1.18, 0.29, 0.29, 19, 1, 0.5, 0)
A(bias_p, met1, 42.285, -1, 0.29, 2, 11, 1, 1.33, 0)
A(bias_p, met1, 60.635, -1, 0.29, 2, 11, 1, 1.33, 0)
A(bias_p, met1, 78.985, -1, 0.29, 2, 11, 1, 1.33, 0)
A(bias_p, met1, 1.38, -0.865, 0.29, 0.29, 1, 5, 0, 0.36)
A(bias_p, met1, 2.71, -0.865, 0.29, 0.29, 1, 5, 0, 0.36)
A(bias_p, met1, 7.76, -0.865, 0.29, 0.29, 1, 5, 0, 0.36)
A(bias_p, met1, 9.09, -0.865, 0.29, 0.29, 1, 5, 0, 0.36)
A(bias_p, met1, 29.53, -0.865, 0.29, 0.29, 1, 5, 0, 0.36)
A(bias_p, met1, 30.86, -0.865, 0.29, 0.29, 1, 5, 0, 0.36)
A(bias_p, met1, 35.9, -0.865, 0.29, 0.29, 1, 5, 0, 0.36)
A(bias_p, met1, 37.23, -0.865, 0.29, 0.29, 1, 5, 0, 0.36)
A(bias_p, met1, 42.285, -0.865, 0.29, 0.29, 11, 5, 1.33, 0.36)
A(bias_p, met1, 60.635, -0.865, 0.29, 0.29, 11, 5, 1.33, 0.36)
A(bias_p, met1, 78.985, -0.865, 0.29, 0.29, 11, 5, 1.33, 0.36)
A(bias_p, met1, 42.285, 1.285, 0.29, 0.29, 6, 1, 2.66, 0)
A(bias_p, met1, 42.285, 1.285, 13.59, 0.29, 3, 2, 18.35, 0.43)
A(bias_p, met1, 60.635, 1.285, 0.29, 0.29, 6, 1, 2.66, 0)
A(bias_p, met1, 78.985, 1.285, 0.29, 0.29, 6, 1, 2.66, 0)
A(bias_p, met1, 43.615, 1.715, 0.29, 0.29, 5, 1, 2.66, 0)
A(bias_p, met1, 61.965, 1.715, 0.29, 0.29, 5, 1, 2.66, 0)
A(bias_p, met1, 80.315, 1.715, 0.29, 0.29, 5, 1, 2.66, 0)
R(bias_p, met1, [(0.36,-2.815,0.77,-2.405), (0.36,-2.815,0.77,-2.405), (0.77,-2.815,3.61,-2.405), (3.61,-2.815,4.02,-2.405), (3.61,-2.815,4.02,-2.405), (6.74,-2.815,7.15,-2.405), (6.74,-2.815,7.15,-2.405), (7.15,-2.815,9.99,-2.405), (9.99,-2.815,10.4,-2.405), (9.99,-2.815,10.4,-2.405), (28.51,-2.815,28.92,-2.405), (28.51,-2.815,28.92,-2.405), (28.92,-2.815,31.76,-2.405), (31.76,-2.815,32.17,-2.405), (31.76,-2.815,32.17,-2.405), (34.88,-2.815,35.29,-2.405), (34.88,-2.815,35.29,-2.405), (35.29,-2.815,38.13,-2.405), (38.13,-2.815,38.54,-2.405), (38.13,-2.815,38.54,-2.405), (41.265,-2.815,41.675,-2.405), (41.265,-2.815,41.675,-2.405), (56.485,-2.815,56.895,-2.405), (56.485,-2.815,56.895,-2.405), (59.615,-2.815,60.025,-2.405), (59.615,-2.815,60.025,-2.405), (74.835,-2.815,75.245,-2.405), (74.835,-2.815,75.245,-2.405), (77.965,-2.815,78.375,-2.405), (77.965,-2.815,78.375,-2.405), (93.185,-2.815,93.595,-2.405), (93.185,-2.815,93.595,-2.405), (0.42,-2.755,0.71,-2.465), (3.67,-2.755,3.96,-2.465), (6.8,-2.755,7.09,-2.465), (10.05,-2.755,10.34,-2.465), (28.57,-2.755,28.86,-2.465), (31.82,-2.755,32.11,-2.465), (34.94,-2.755,35.23,-2.465), (38.19,-2.755,38.48,-2.465), (41.325,-2.755,41.615,-2.465), (56.545,-2.755,56.835,-2.465), (59.675,-2.755,59.965,-2.465), (74.895,-2.755,75.185,-2.465), (78.025,-2.755,78.315,-2.465), (93.245,-2.755,93.535,-2.465), (13.12,-2.03,13.53,-1.62), (13.12,-2.03,13.53,-1.62), (13.53,-2.03,25.37,-1.62), (25.37,-2.03,25.78,-1.62), (25.37,-2.03,25.78,-1.62), (1.69,-1.98,2.69,-1.65), (8.07,-1.98,9.07,-1.65), (29.84,-1.98,30.84,-1.65), (36.21,-1.98,37.21,-1.65), (13.18,-1.97,13.47,-1.68), (25.43,-1.97,25.72,-1.68), (2.045,-1.96,2.335,-1.67), (8.425,-1.96,8.715,-1.67), (14.45,-1.2,24.45,-0.87), (1.38,-1,1.67,1), (2.71,-1,3,1), (7.76,-1,8.05,1), (9.09,-1,9.38,1), (29.53,-1,29.82,1), (30.86,-1,31.15,1), (35.9,-1,36.19,1), (37.23,-1,37.52,1), (14.14,-0.21,14.43,0.21), (24.47,-0.21,24.76,0.21), (14.14,-0.145,14.43,0.145), (24.47,-0.145,24.76,0.145), (14.14,0.495,14.43,0.785), (14.14,0.495,24.76,0.785), (14.14,0.925,24.76,1.215), (24.47,0.925,24.76,1.215), (1.38,1.285,1.67,1.575), (1.38,1.285,3,1.575), (7.76,1.285,8.05,1.575), (7.76,1.285,9.38,1.575), (29.53,1.285,29.82,1.575), (29.53,1.285,31.15,1.575), (35.9,1.285,36.19,1.575), (35.9,1.285,37.52,1.575), (13.12,1.62,13.53,2.03), (13.12,1.62,13.53,2.03), (13.53,1.62,25.37,2.03), (25.37,1.62,25.78,2.03), (25.37,1.62,25.78,2.03), (13.18,1.68,13.47,1.97), (25.43,1.68,25.72,1.97), (1.38,1.715,3,2.005), (2.71,1.715,3,2.005), (7.76,1.715,9.38,2.005), (9.09,1.715,9.38,2.005), (29.53,1.715,31.15,2.005), (30.86,1.715,31.15,2.005), (35.9,1.715,37.52,2.005), (37.23,1.715,37.52,2.005), (0.36,2.405,0.77,2.815), (0.36,2.405,0.77,2.815), (0.77,2.405,3.61,2.815), (3.61,2.405,4.02,2.815), (3.61,2.405,4.02,2.815), (6.74,2.405,7.15,2.815), (6.74,2.405,7.15,2.815), (7.15,2.405,9.99,2.815), (9.99,2.405,10.4,2.815), (9.99,2.405,10.4,2.815), (28.51,2.405,28.92,2.815), (28.51,2.405,28.92,2.815), (28.92,2.405,31.76,2.815), (31.76,2.405,32.17,2.815), (31.76,2.405,32.17,2.815), (34.88,2.405,35.29,2.815), (34.88,2.405,35.29,2.815), (35.29,2.405,38.13,2.815), (38.13,2.405,38.54,2.815), (38.13,2.405,38.54,2.815), (41.265,2.405,41.675,2.815), (41.265,2.405,41.675,2.815), (56.485,2.405,56.895,2.815), (56.485,2.405,56.895,2.815), (59.615,2.405,60.025,2.815), (59.615,2.405,60.025,2.815), (74.835,2.405,75.245,2.815), (74.835,2.405,75.245,2.815), (77.965,2.405,78.375,2.815), (77.965,2.405,78.375,2.815), (93.185,2.405,93.595,2.815), (93.185,2.405,93.595,2.815), (0.42,2.465,0.71,2.755), (3.67,2.465,3.96,2.755), (6.8,2.465,7.09,2.755), (10.05,2.465,10.34,2.755), (28.57,2.465,28.86,2.755), (31.82,2.465,32.11,2.755), (34.94,2.465,35.23,2.755), (38.19,2.465,38.48,2.755), (41.325,2.465,41.615,2.755), (56.545,2.465,56.835,2.755), (59.675,2.465,59.965,2.755), (74.895,2.465,75.185,2.755), (78.025,2.465,78.315,2.755), (93.245,2.465,93.535,2.755)])
P(bias_p, nsdm, [(4.15,2.945),(0.23,2.945),(0.23,-2.275),(0.9,-2.275),(0.9,2.275),(3.48,2.275),(3.48,-2.275),(0.9,-2.275),(0.23,-2.275),(0.23,-2.945),(4.15,-2.945)],
  [(93.725,2.945),(77.835,2.945),(77.835,-2.275),(78.505,-2.275),(78.505,2.275),(93.055,2.275),(93.055,-2.275),(78.505,-2.275),(77.835,-2.275),(77.835,-2.945),(93.725,-2.945)],
  [(75.375,2.945),(59.485,2.945),(59.485,-2.275),(60.155,-2.275),(60.155,2.275),(74.705,2.275),(74.705,-2.275),(60.155,-2.275),(59.485,-2.275),(59.485,-2.945),(75.375,-2.945)],
  [(57.025,2.945),(41.135,2.945),(41.135,-2.275),(41.805,-2.275),(41.805,2.275),(56.355,2.275),(56.355,-2.275),(41.805,-2.275),(41.135,-2.275),(41.135,-2.945),(57.025,-2.945)],
  [(38.67,2.945),(34.75,2.945),(34.75,-2.275),(35.42,-2.275),(35.42,2.275),(38,2.275),(38,-2.275),(35.42,-2.275),(34.75,-2.275),(34.75,-2.945),(38.67,-2.945)],
  [(32.3,2.945),(28.38,2.945),(28.38,-2.275),(29.05,-2.275),(29.05,2.275),(31.63,2.275),(31.63,-2.275),(29.05,-2.275),(28.38,-2.275),(28.38,-2.945),(32.3,-2.945)],
  [(25.91,2.16),(12.99,2.16),(12.99,-1.49),(13.66,-1.49),(13.66,1.49),(25.24,1.49),(25.24,-1.49),(13.66,-1.49),(12.99,-1.49),(12.99,-2.16),(25.91,-2.16)],
  [(10.53,2.945),(6.61,2.945),(6.61,-2.275),(7.28,-2.275),(7.28,2.275),(9.86,2.275),(9.86,-2.275),(7.28,-2.275),(6.61,-2.275),(6.61,-2.945),(10.53,-2.945)])
A(bias_p, psdm, 42.075, -1.13, 14.01, 2.26, 3, 1, 18.35, 0)
R(bias_p, psdm, [(1.17,-1.13,3.21,1.13), (7.55,-1.13,9.59,1.13), (29.32,-1.13,31.36,1.13), (35.69,-1.13,37.73,1.13), (13.93,-0.34,24.97,0.34)])
A(bias_p, npc, 42.895, -2, 0.37, 0.37, 25, 1, 0.5, 0)
A(bias_p, npc, 61.245, -2, 0.37, 0.37, 25, 1, 0.5, 0)
A(bias_p, npc, 79.595, -2, 0.37, 0.37, 25, 1, 0.5, 0)
A(bias_p, npc, 14.765, -1.22, 0.37, 0.37, 19, 1, 0.5, 0)
R(bias_p, npc, [(2.005,-2,2.375,-1.63), (2.005,-2,2.375,-1.63), (8.385,-2,8.755,-1.63), (8.385,-2,8.755,-1.63), (30.155,-2,30.525,-1.63), (30.155,-2,30.525,-1.63), (36.525,-2,36.895,-1.63), (36.525,-2,36.895,-1.63), (42.895,-2,43.765,-1.63), (42.895,-2,43.765,-1.63), (43.395,-2,44.265,-1.63), (43.395,-2,44.265,-1.63), (43.895,-2,44.765,-1.63), (43.895,-2,44.765,-1.63), (44.395,-2,45.265,-1.63), (44.395,-2,45.265,-1.63), (44.895,-2,45.765,-1.63), (44.895,-2,45.765,-1.63), (45.395,-2,46.265,-1.63), (45.395,-2,46.265,-1.63), (45.895,-2,46.765,-1.63), (45.895,-2,46.765,-1.63), (46.395,-2,47.265,-1.63), (46.395,-2,47.265,-1.63), (46.895,-2,47.765,-1.63), (46.895,-2,47.765,-1.63), (47.395,-2,48.265,-1.63), (47.395,-2,48.265,-1.63), (47.895,-2,48.765,-1.63), (47.895,-2,48.765,-1.63), (48.395,-2,49.265,-1.63), (48.395,-2,49.265,-1.63), (48.895,-2,49.765,-1.63), (48.895,-2,49.765,-1.63), (49.395,-2,50.265,-1.63), (49.395,-2,50.265,-1.63), (49.895,-2,50.765,-1.63), (49.895,-2,50.765,-1.63), (50.395,-2,51.265,-1.63), (50.395,-2,51.265,-1.63), (50.895,-2,51.765,-1.63), (50.895,-2,51.765,-1.63), (51.395,-2,52.265,-1.63), (51.395,-2,52.265,-1.63), (51.895,-2,52.765,-1.63), (51.895,-2,52.765,-1.63), (52.395,-2,53.265,-1.63), (52.395,-2,53.265,-1.63), (52.895,-2,53.765,-1.63), (52.895,-2,53.765,-1.63), (53.395,-2,54.265,-1.63), (53.395,-2,54.265,-1.63), (53.895,-2,54.765,-1.63), (53.895,-2,54.765,-1.63), (54.395,-2,55.265,-1.63), (54.395,-2,55.265,-1.63), (61.245,-2,62.115,-1.63), (61.245,-2,62.115,-1.63), (61.745,-2,62.615,-1.63), (61.745,-2,62.615,-1.63), (62.245,-2,63.115,-1.63), (62.245,-2,63.115,-1.63), (62.745,-2,63.615,-1.63), (62.745,-2,63.615,-1.63), (63.245,-2,64.115,-1.63), (63.245,-2,64.115,-1.63), (63.745,-2,64.615,-1.63), (63.745,-2,64.615,-1.63), (64.245,-2,65.115,-1.63), (64.245,-2,65.115,-1.63), (64.745,-2,65.615,-1.63), (64.745,-2,65.615,-1.63), (65.245,-2,66.115,-1.63), (65.245,-2,66.115,-1.63), (65.745,-2,66.615,-1.63), (65.745,-2,66.615,-1.63), (66.245,-2,67.115,-1.63), (66.245,-2,67.115,-1.63), (66.745,-2,67.615,-1.63), (66.745,-2,67.615,-1.63), (67.245,-2,68.115,-1.63), (67.245,-2,68.115,-1.63), (67.745,-2,68.615,-1.63), (67.745,-2,68.615,-1.63), (68.245,-2,69.115,-1.63), (68.245,-2,69.115,-1.63), (68.745,-2,69.615,-1.63), (68.745,-2,69.615,-1.63), (69.245,-2,70.115,-1.63), (69.245,-2,70.115,-1.63), (69.745,-2,70.615,-1.63), (69.745,-2,70.615,-1.63), (70.245,-2,71.115,-1.63), (70.245,-2,71.115,-1.63), (70.745,-2,71.615,-1.63), (70.745,-2,71.615,-1.63), (71.245,-2,72.115,-1.63), (71.245,-2,72.115,-1.63), (71.745,-2,72.615,-1.63), (71.745,-2,72.615,-1.63), (72.245,-2,73.115,-1.63), (72.245,-2,73.115,-1.63), (72.745,-2,73.615,-1.63), (72.745,-2,73.615,-1.63), (79.595,-2,80.465,-1.63), (79.595,-2,80.465,-1.63), (80.095,-2,80.965,-1.63), (80.095,-2,80.965,-1.63), (80.595,-2,81.465,-1.63), (80.595,-2,81.465,-1.63), (81.095,-2,81.965,-1.63), (81.095,-2,81.965,-1.63), (81.595,-2,82.465,-1.63), (81.595,-2,82.465,-1.63), (82.095,-2,82.965,-1.63), (82.095,-2,82.965,-1.63), (82.595,-2,83.465,-1.63), (82.595,-2,83.465,-1.63), (83.095,-2,83.965,-1.63), (83.095,-2,83.965,-1.63), (83.595,-2,84.465,-1.63), (83.595,-2,84.465,-1.63), (84.095,-2,84.965,-1.63), (84.095,-2,84.965,-1.63), (84.595,-2,85.465,-1.63), (84.595,-2,85.465,-1.63), (85.095,-2,85.965,-1.63), (85.095,-2,85.965,-1.63), (85.595,-2,86.465,-1.63), (85.595,-2,86.465,-1.63), (86.095,-2,86.965,-1.63), (86.095,-2,86.965,-1.63), (86.595,-2,87.465,-1.63), (86.595,-2,87.465,-1.63), (87.095,-2,87.965,-1.63), (87.095,-2,87.965,-1.63), (87.595,-2,88.465,-1.63), (87.595,-2,88.465,-1.63), (88.095,-2,88.965,-1.63), (88.095,-2,88.965,-1.63), (88.595,-2,89.465,-1.63), (88.595,-2,89.465,-1.63), (89.095,-2,89.965,-1.63), (89.095,-2,89.965,-1.63), (89.595,-2,90.465,-1.63), (89.595,-2,90.465,-1.63), (90.095,-2,90.965,-1.63), (90.095,-2,90.965,-1.63), (90.595,-2,91.465,-1.63), (90.595,-2,91.465,-1.63), (91.095,-2,91.965,-1.63), (91.095,-2,91.965,-1.63), (14.765,-1.22,15.635,-0.85), (14.765,-1.22,15.635,-0.85), (15.265,-1.22,16.135,-0.85), (15.265,-1.22,16.135,-0.85), (15.765,-1.22,16.635,-0.85), (15.765,-1.22,16.635,-0.85), (16.265,-1.22,17.135,-0.85), (16.265,-1.22,17.135,-0.85), (16.765,-1.22,17.635,-0.85), (16.765,-1.22,17.635,-0.85), (17.265,-1.22,18.135,-0.85), (17.265,-1.22,18.135,-0.85), (17.765,-1.22,18.635,-0.85), (17.765,-1.22,18.635,-0.85), (18.265,-1.22,19.135,-0.85), (18.265,-1.22,19.135,-0.85), (18.765,-1.22,19.635,-0.85), (18.765,-1.22,19.635,-0.85), (19.265,-1.22,20.135,-0.85), (19.265,-1.22,20.135,-0.85), (19.765,-1.22,20.635,-0.85), (19.765,-1.22,20.635,-0.85), (20.265,-1.22,21.135,-0.85), (20.265,-1.22,21.135,-0.85), (20.765,-1.22,21.635,-0.85), (20.765,-1.22,21.635,-0.85), (21.265,-1.22,22.135,-0.85), (21.265,-1.22,22.135,-0.85), (21.765,-1.22,22.635,-0.85), (21.765,-1.22,22.635,-0.85), (22.265,-1.22,23.135,-0.85), (22.265,-1.22,23.135,-0.85), (22.765,-1.22,23.635,-0.85), (22.765,-1.22,23.635,-0.85), (23.265,-1.22,24.135,-0.85), (23.265,-1.22,24.135,-0.85)])
bias_p.add(gdstk.Label('MOOB_B', (85.78,2.815), layer=68, texttype=5))
bias_p.add(gdstk.Label('MOOB_G', (79.78,-1.96), layer=68, texttype=5))
bias_p.add(gdstk.Label('MOOB_S', (78.985,1.43), layer=68, texttype=5))
bias_p.add(gdstk.Label('MOOB_D', (85.78,2.005), layer=68, texttype=5))
bias_p.add(gdstk.Label('MOLO_B', (67.43,2.815), layer=68, texttype=5))
bias_p.add(gdstk.Label('MOLO_G', (61.43,-1.96), layer=68, texttype=5))
bias_p.add(gdstk.Label('MOLO_S', (60.635,1.43), layer=68, texttype=5))
bias_p.add(gdstk.Label('MOLO_D', (67.43,2.005), layer=68, texttype=5))
bias_p.add(gdstk.Label('MOPA_B', (49.08,2.815), layer=68, texttype=5))
bias_p.add(gdstk.Label('MOPA_G', (43.08,-1.96), layer=68, texttype=5))
bias_p.add(gdstk.Label('MOPA_S', (42.285,1.43), layer=68, texttype=5))
bias_p.add(gdstk.Label('MOPA_D', (49.08,2.005), layer=68, texttype=5))
bias_p.add(gdstk.Label('MOQ_B', (36.71,2.815), layer=68, texttype=5))
bias_p.add(gdstk.Label('MOQ_G', (36.71,-1.98), layer=68, texttype=5))
bias_p.add(gdstk.Label('MOQ_S', (35.9,1.43), layer=68, texttype=5))
bias_p.add(gdstk.Label('MOQ_D', (36.71,2.005), layer=68, texttype=5))
bias_p.add(gdstk.Label('MOI_B', (30.34,2.815), layer=68, texttype=5))
bias_p.add(gdstk.Label('MOI_G', (30.34,-1.98), layer=68, texttype=5))
bias_p.add(gdstk.Label('MOI_S', (29.53,1.43), layer=68, texttype=5))
bias_p.add(gdstk.Label('MOI_D', (30.34,2.005), layer=68, texttype=5))
bias_p.add(gdstk.Label('MS1_B', (19.45,2.03), layer=68, texttype=5))
bias_p.add(gdstk.Label('MS1_G', (14.95,-1.18), layer=68, texttype=5))
bias_p.add(gdstk.Label('MS1_S', (14.14,0.64), layer=68, texttype=5))
bias_p.add(gdstk.Label('MS1_D', (19.45,1.215), layer=68, texttype=5))
bias_p.add(gdstk.Label('M4_B', (8.57,2.815), layer=68, texttype=5))
bias_p.add(gdstk.Label('M4_G', (8.57,-1.98), layer=68, texttype=5))
bias_p.add(gdstk.Label('M4_S', (7.76,1.43), layer=68, texttype=5))
bias_p.add(gdstk.Label('M4_D', (8.57,2.005), layer=68, texttype=5))
bias_p.add(gdstk.Label('M3_B', (2.19,2.815), layer=68, texttype=5))
bias_p.add(gdstk.Label('M3_G', (2.19,-1.98), layer=68, texttype=5))
bias_p.add(gdstk.Label('M3_S', (1.38,1.43), layer=68, texttype=5))
bias_p.add(gdstk.Label('M3_D', (2.19,2.005), layer=68, texttype=5))

lib.write_gds('bias_p.gds')
